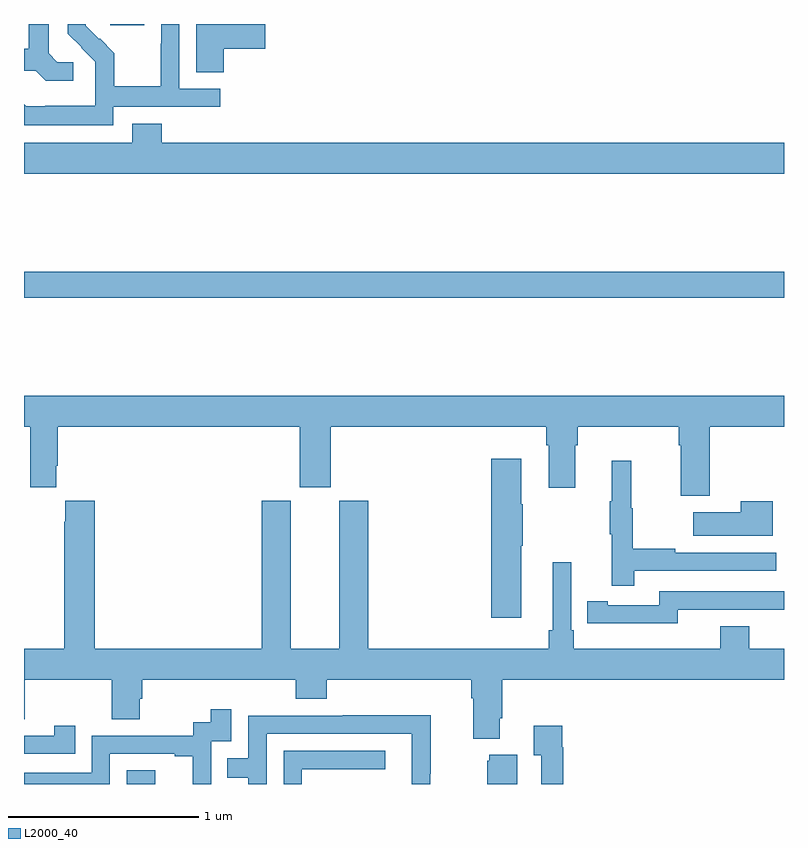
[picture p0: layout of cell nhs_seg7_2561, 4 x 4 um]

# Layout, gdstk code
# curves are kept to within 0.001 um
import gdstk
lib = gdstk.Library(unit=1e-6, precision=1e-09)
def R(c, l, rs):  # rectangles x0, y0, x1, y1
    for r in rs: c.add(gdstk.rectangle(r[:2], r[2:], *l))
def P(c, l, *ps):  # polygons
    for p in ps: c.add(gdstk.Polygon(p, *l))
L2000_40 = (2000, 40)

nhs_seg7_2561 = lib.new_cell('nhs_seg7_2561')
R(nhs_seg7_2561, L2000_40, [(277.542,1068,277.69,1068.073), (277,1070.56,281,1070.696), (277.454,1071.993,277.633,1072)])
P(nhs_seg7_2561, L2000_40, [(277.47,1071.564),(278.032,1071.564),(278.032,1071.66),(277.818,1071.66),(277.818,1072),(277.722,1072),(277.722,1071.896),(277.72,1071.896),(277.72,1071.673),(277.475,1071.673),(277.475,1071.847),(277.398,1071.924),(277.395,1071.921),(277.325,1071.992),(277.325,1072),(277.23,1072),(277.23,1071.95),(277.376,1071.802),(277.376,1071.705),(277.374,1071.705),(277.374,1071.571),(277.111,1071.571),(277.111,1071.567),(277.011,1071.567),(277,1071.578),(277,1071.467),(277.47,1071.467)],
  [(277.258,1071.798),(277.176,1071.798),(277.129,1071.845),(277.129,1072),(277.025,1072),(277.025,1071.869),(277,1071.869),(277,1071.753),(277.062,1071.753),(277.114,1071.701),(277.258,1071.701)],
  [(278.051,1071.869),(278.269,1071.869),(278.269,1072),(277.907,1072),(277.907,1071.745),(278.051,1071.745)],
  [(281,1071.376),(277.724,1071.376),(277.724,1071.475),(277.571,1071.475),(277.571,1071.376),(277,1071.376),(277,1071.212),(281,1071.212)],
  [(277,1069.88),(277.034,1069.88),(277.034,1069.563),(277.171,1069.563),(277.171,1069.675),(277.178,1069.675),(277.178,1069.88),(278.45,1069.88),(278.45,1069.563),(278.614,1069.563),(278.614,1069.88),(279.749,1069.88),(279.749,1069.784),(279.761,1069.784),(279.761,1069.56),(279.901,1069.56),(279.901,1069.784),(279.914,1069.784),(279.914,1069.88),(280.445,1069.88),(280.445,1069.784),(280.457,1069.784),(280.457,1069.518),(280.61,1069.518),(280.61,1069.88),(281,1069.88),(281,1070.044),(277,1070.044)],
  [(279.616,1069.255),(279.624,1069.255),(279.624,1069.472),(279.616,1069.472),(279.616,1069.711),(279.458,1069.711),(279.458,1068.876),(279.616,1068.876)],
  [(280.211,1069.122),(280.96,1069.122),(280.96,1069.218),(280.427,1069.218),(280.427,1069.238),(280.204,1069.238),(280.204,1069.452),(280.196,1069.452),(280.196,1069.702),(280.094,1069.702),(280.094,1069.489),(280.083,1069.489),(280.083,1069.315),(280.094,1069.315),(280.094,1069.044),(280.211,1069.044)],
  [(279.505,1068.346),(279.518,1068.346),(279.518,1068.548),(281,1068.548),(281,1068.712),(280.817,1068.712),(280.817,1068.829),(280.664,1068.829),(280.664,1068.712),(279.893,1068.712),(279.893,1068.808),(279.879,1068.808),(279.879,1069.168),(279.782,1069.168),(279.782,1068.808),(279.763,1068.808),(279.763,1068.712),(278.813,1068.712),(278.813,1069.491),(278.66,1069.491),(278.66,1068.712),(278.404,1068.712),(278.404,1069.491),(278.252,1069.491),(278.252,1068.712),(277.373,1068.712),(277.373,1069.492),(277.217,1069.492),(277.217,1069.379),(277.213,1069.379),(277.213,1068.712),(277,1068.712),(277,1068.34),(277.005,1068.34),(277.005,1068.548),(277.462,1068.548),(277.462,1068.34),(277.609,1068.34),(277.609,1068.45),(277.622,1068.45),(277.622,1068.548),(278.429,1068.548),(278.429,1068.449),(278.594,1068.449),(278.594,1068.548),(279.353,1068.548),(279.353,1068.452),(279.365,1068.452),(279.365,1068.239),(279.505,1068.239)],
  [(280.942,1069.489),(280.772,1069.489),(280.772,1069.429),(280.523,1069.429),(280.523,1069.307),(280.942,1069.307)],
  [(280.44,1068.918),(280.9,1068.918),(280.9,1068.917),(281,1068.917),(281,1069.014),(280.344,1069.014),(280.344,1068.942),(280.072,1068.942),(280.072,1068.962),(279.964,1068.962),(279.964,1068.846),(280.072,1068.846),(280.072,1068.845),(280.44,1068.845)],
  [(277.452,1068.159),(277.793,1068.159),(277.793,1068.147),(277.889,1068.147),(277.889,1068),(277.986,1068),(277.986,1068.225),(278.091,1068.225),(278.091,1068.394),(277.983,1068.394),(277.983,1068.324),(277.89,1068.324),(277.89,1068.255),(277.356,1068.255),(277.356,1068.06),(277,1068.06),(277,1068),(277.452,1068)],
  [(278.277,1068.264),(279.041,1068.264),(279.041,1068.01),(279.042,1068.01),(279.042,1068),(279.138,1068),(279.138,1068.055),(279.141,1068.055),(279.141,1068.362),(278.677,1068.362),(278.677,1068.36),(278.181,1068.36),(278.181,1068.135),(278.071,1068.135),(278.071,1068.034),(278.181,1068.034),(278.181,1068),(278.277,1068)],
  [(279.839,1068.194),(279.832,1068.194),(279.832,1068.307),(279.683,1068.307),(279.683,1068.151),(279.723,1068.151),(279.723,1068),(279.839,1068)],
  [(277.271,1068.307),(277.16,1068.307),(277.16,1068.255),(277,1068.255),(277,1068.159),(277.271,1068.159)],
  [(278.463,1068.078),(278.902,1068.078),(278.902,1068.174),(278.367,1068.174),(278.367,1068),(278.463,1068)],
  [(279.595,1068.154),(279.449,1068.154),(279.449,1068.123),(279.437,1068.123),(279.437,1068),(279.595,1068)])

lib.write_gds('nhs_seg7_2561.gds')
